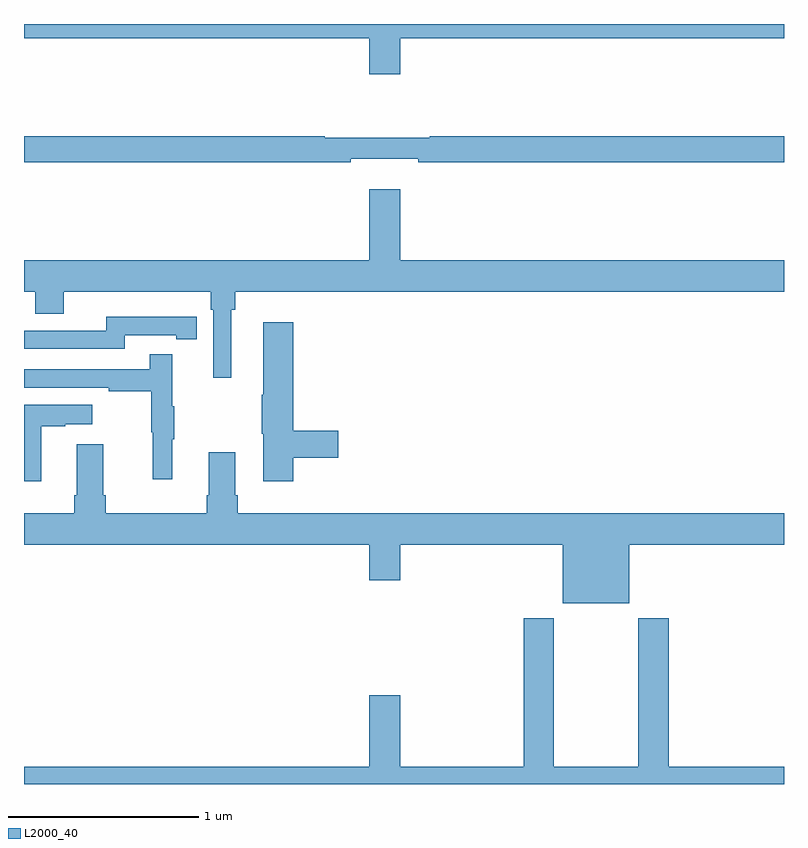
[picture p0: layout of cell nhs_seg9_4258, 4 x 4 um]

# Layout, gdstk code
import gdstk
lib = gdstk.Library(unit=1e-6, precision=1e-09)
def P(c, l, *ps):  # polygons
    for p in ps: c.add(gdstk.Polygon(p, *l))
L2000_40 = (2000, 40)

nhs_seg9_4258 = lib.new_cell('nhs_seg9_4258')
P(nhs_seg9_4258, L2000_40, [(356.98,1192.424),(359,1192.424),(359,1192.5),(355,1192.5),(355,1192.424),(356.816,1192.424),(356.816,1192.236),(356.98,1192.236)],
  [(356.72,1191.791),(357.076,1191.791),(357.076,1191.772),(359,1191.772),(359,1191.908),(357.136,1191.908),(357.136,1191.901),(356.582,1191.901),(356.582,1191.908),(355,1191.908),(355,1191.772),(356.72,1191.772)],
  [(356.092,1190.996),(356.111,1190.996),(356.111,1191.092),(359,1191.092),(359,1191.256),(356.98,1191.256),(356.98,1191.631),(356.816,1191.631),(356.816,1191.256),(355,1191.256),(355,1191.092),(355.058,1191.092),(355.058,1190.975),(355.21,1190.975),(355.21,1191.092),(355.982,1191.092),(355.982,1190.996),(355.995,1190.996),(355.995,1190.637),(356.092,1190.637)],
  [(355.53,1190.862),(355.802,1190.862),(355.802,1190.842),(355.91,1190.842),(355.91,1190.958),(355.802,1190.958),(355.802,1190.959),(355.434,1190.959),(355.434,1190.886),(355,1190.886),(355,1190.79),(355.53,1190.79)],
  [(356.417,1190.218),(356.653,1190.218),(356.653,1190.36),(356.417,1190.36),(356.417,1190.929),(356.258,1190.929),(356.258,1190.549),(356.251,1190.549),(356.251,1190.343),(356.258,1190.343),(356.258,1190.094),(356.417,1190.094)],
  [(355.781,1190.315),(355.792,1190.315),(355.792,1190.489),(355.781,1190.489),(355.781,1190.761),(355.663,1190.761),(355.663,1190.682),(355,1190.682),(355,1190.586),(355.447,1190.586),(355.447,1190.566),(355.671,1190.566),(355.671,1190.352),(355.678,1190.352),(355.678,1190.103),(355.781,1190.103)],
  [(355.09,1190.383),(355.217,1190.383),(355.217,1190.393),(355.36,1190.393),(355.36,1190.497),(355,1190.497),(355,1190.094),(355.09,1190.094)],
  [(358.186,1189.76),(359,1189.76),(359,1189.924),(356.126,1189.924),(356.126,1190.02),(356.113,1190.02),(356.113,1190.245),(355.973,1190.245),(355.973,1190.02),(355.961,1190.02),(355.961,1189.924),(355.43,1189.924),(355.43,1190.02),(355.417,1190.02),(355.417,1190.287),(355.277,1190.287),(355.277,1190.02),(355.265,1190.02),(355.265,1189.924),(355,1189.924),(355,1189.76),(356.816,1189.76),(356.816,1189.572),(356.98,1189.572),(356.98,1189.76),(357.836,1189.76),(357.836,1189.451),(358.186,1189.451)],
  [(359,1188.592),(358.394,1188.592),(358.394,1189.372),(358.234,1189.372),(358.234,1188.592),(357.789,1188.592),(357.789,1189.372),(357.629,1189.372),(357.629,1188.592),(356.98,1188.592),(356.98,1188.967),(356.816,1188.967),(356.816,1188.592),(355,1188.592),(355,1188.5),(359,1188.5)])

lib.write_gds('nhs_seg9_4258.gds')
